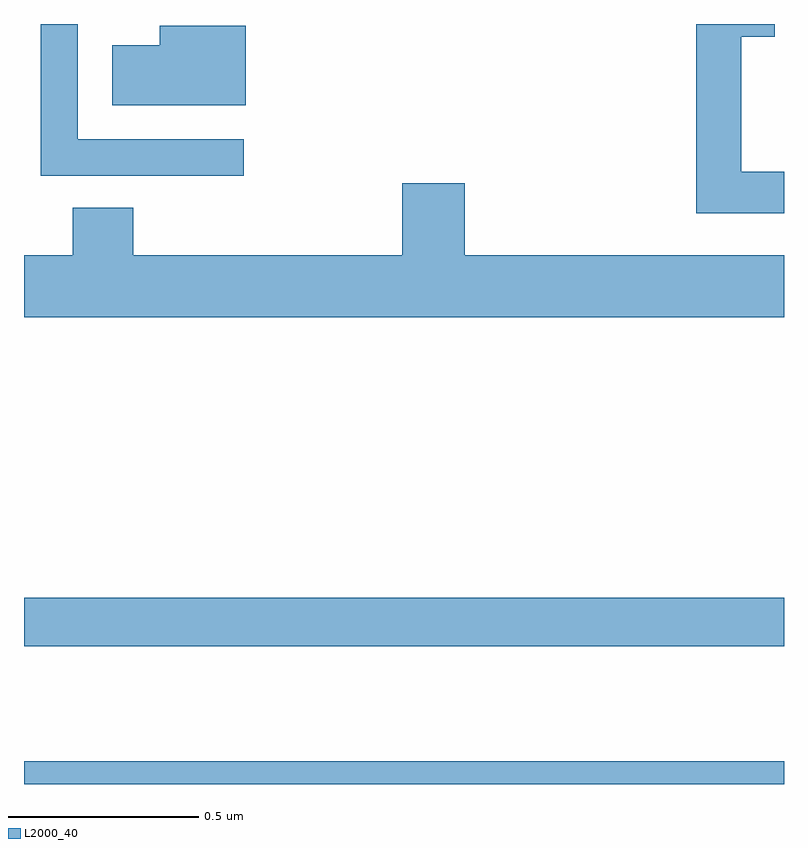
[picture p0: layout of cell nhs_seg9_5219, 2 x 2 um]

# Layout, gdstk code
import gdstk
lib = gdstk.Library(unit=1e-6, precision=1e-09)
def R(c, l, rs):  # rectangles x0, y0, x1, y1
    for r in rs: c.add(gdstk.rectangle(r[:2], r[2:], *l))
def P(c, l, *ps):  # polygons
    for p in ps: c.add(gdstk.Polygon(p, *l))
L2000_40 = (2000, 40)

nhs_seg9_5219 = lib.new_cell('nhs_seg9_5219')
R(nhs_seg9_5219, L2000_40, [(176,1220.5,178,1220.56), (176,1220.862,178,1220.99)])
P(nhs_seg9_5219, L2000_40, [(176.578,1222.197),(176.142,1222.197),(176.142,1222.5),(176.044,1222.5),(176.044,1222.101),(176.578,1222.101)],
  [(178,1222.111),(177.887,1222.111),(177.887,1222.466),(177.976,1222.466),(177.976,1222.5),(177.769,1222.5),(177.769,1222.002),(178,1222.002)],
  [(176.584,1222.495),(176.357,1222.495),(176.357,1222.444),(176.232,1222.444),(176.232,1222.286),(176.584,1222.286)],
  [(178,1221.892),(177.16,1221.892),(177.16,1222.081),(176.996,1222.081),(176.996,1221.892),(176.288,1221.892),(176.288,1222.016),(176.128,1222.016),(176.128,1221.892),(176,1221.892),(176,1221.728),(178,1221.728)])

lib.write_gds('nhs_seg9_5219.gds')
